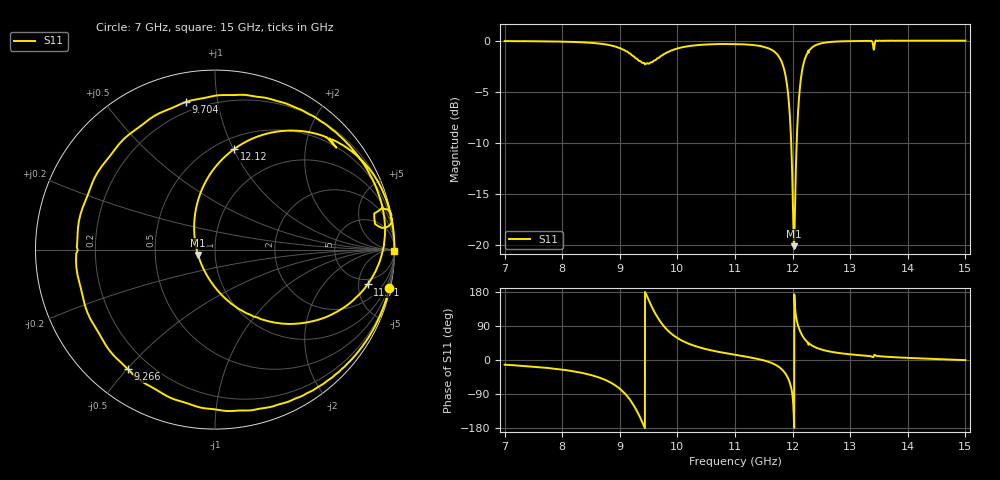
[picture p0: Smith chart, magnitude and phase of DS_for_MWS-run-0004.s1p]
! TOUCHSTONE file generated by CST DESIGN STUDIO
! Date and time: Mon Feb 10 16:48:59 2025
! Project name: C:\Work\MatlabApps\UnitCellType2OptimizationMatlab\CST\unitcell.cst
! Tree item: Tasks\Sweep1\SPara1\S-Parameters
! Header version: 2024
! Port assignment regex: !\s*Touchstone port\s*([0-9]+)\s*=\s*(CST MWS port|CST DES external port|CST DES block port)\s*(.+)\s* \(\"(.*)\"\)(\s*mode\s*([0-9]+))?.*
! Touchstone port assignment:
! Touchstone port 1 = CST DES external port 1 ("")
# GHz S MA R 50
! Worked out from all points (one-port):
!   4001 points, 7 GHz to 15 GHz, reference 50 ohm
!   lowest |S11| = -20.1 dB at 12.02 GHz (marker M1), VSWR 1.22, Z = 41.3 - j2.54 ohm
!   |S11| at or under -10 dB: 11.98 GHz to 12.07 GHz (95.26 MHz wide, 0.792 % of centre)
!   S11 on the Smith chart (normalised r, x): 7 GHz: 0.24, -9.21; 9.266 GHz: 0.12, -0.50; 9.704 GHz: 0.15, +0.81; 11.71 GHz: 3.98, -6.45; 12.12 GHz: 0.61, +1.01; 15 GHz: open
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7  0.9943 -12.4
8  0.9879 -25.4
8.626  0.9676 -45.5
8.838  0.9488 -59.3
9  0.9195 -75.8
9.15  0.872 -99.5
9.266  0.824 -126.1
9.376  0.7836 -159.3
9.462  0.7719 171.9
9.584  0.7951 131.9
9.704  0.8384 101.1
9.854  0.8828 74.8
10  0.9161 57.9
10.378  0.9515 33.5
11  0.9619 13.8
11.706  0.8719 -12.9
11.818  0.7771 -25.3
11.904  0.6059 -43.1
11.952  0.43 -60.1
12  0.1855 -95.9
12.024  0.09888 -162.0
12.068  0.3005 107.6
12.122  0.5707 79.2
12.244  0.8551 49.1
12.382  0.9439 34.5
13  0.9948 14.9
14  0.9988 5.6
15  0.9995 -0.4
